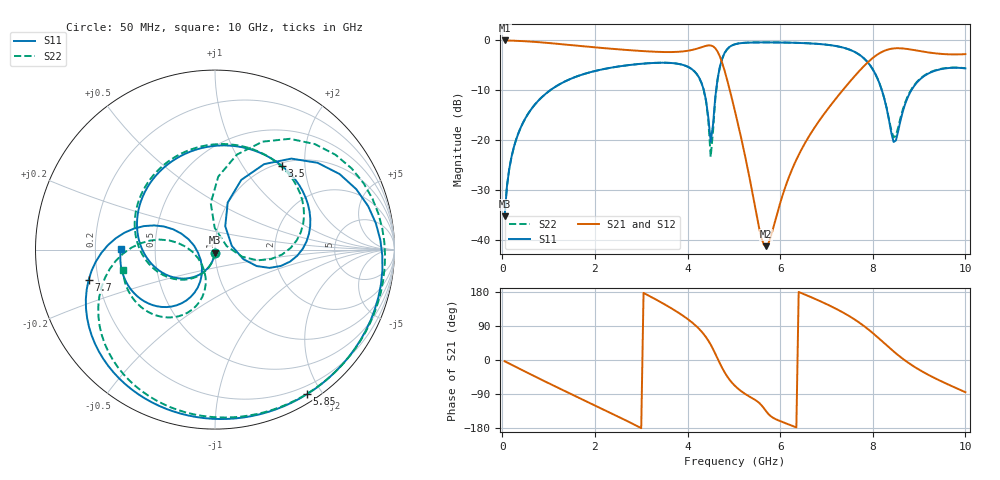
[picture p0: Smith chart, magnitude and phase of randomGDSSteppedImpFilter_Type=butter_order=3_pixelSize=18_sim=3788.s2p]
! freq	dB(S11)	phase(S11)	dB(S12)	phase(S12)
!  dB(S21)	phase(S21)	dB(S22)	phase(S22)
!S-par simulation data
#  GHz  S  DB  R 50
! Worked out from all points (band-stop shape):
!   200 points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, 50 MHz to 10 GHz, reference 50 ohm
!   highest |S21| = 0.00 dB at 50 MHz (marker M1); lowest = -41.3 dB at 5.7 GHz (marker M2)
!   |S21| within 3 dB of the highest: start of sweep to 4.687 GHz; 8.074 GHz to end of sweep
!   lowest |S11| = -35.3 dB at 50 MHz (marker M3), VSWR 1.03, Z = 49.9 - j1.71 ohm
!   |S11| at or under -10 dB: start of sweep to 1.036 GHz; 4.353 GHz to 4.618 GHz (265.3 MHz wide, 5.92 % of centre); 8.196 GHz to 8.834 GHz (638 MHz wide, 7.49 % of centre)
!   |S22| runs from -35.3 to -0.4 dB; largest |S21 - S12| = 0
!   S11 on the Smith chart (normalised r, x): 50 MHz: 1.00, -0.03; 3.5 GHz: 1.05, +1.52; 5.85 GHz: 0.10, -1.81; 7.7 GHz: 0.16, -0.12; 10 GHz: 0.31, +0.00
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0.05  -35.33 -93.3  -0.00 -3.2  -0.00 -3.2  -35.33 -93.1
0.2  -23.34 -103.0  -0.04 -12.5  -0.04 -12.5  -23.34 -102.5
0.5  -15.61 -122.2  -0.16 -31.0  -0.16 -31.0  -15.61 -120.9
1.1  -9.58 -159.3  -0.60 -67.2  -0.60 -67.2  -9.58 -156.3
1.75  -6.78 161.6  -1.17 -105.2  -1.17 -105.2  -6.78 166.6
2.6  -5.11 110.2  -1.85 -155.2  -1.85 -155.2  -5.11 118.2
3.4  -4.48 58.5  -2.31 154.1  -2.31 154.1  -4.48 69.1
3.5  -4.48 51.6  -2.33 147.2  -2.33 147.2  -4.47 62.5
4.25  -7.47 -9.1  -1.52 82.1  -1.52 82.1  -7.50 1.3
4.4  -12.05 -21.6  -1.08 60.0  -1.08 60.0  -12.25 -14.2
4.5  -20.39 12.7  -1.00 40.5  -1.00 40.5  -23.40 17.1
4.7  -5.21 60.1  -3.26 -9.2  -3.26 -9.2  -5.30 77.0
5.05  -0.70 3.3  -15.21 -71.2  -15.21 -71.2  -0.71 17.9
5.7  -0.39 -48.5  -41.31 -135.7  -41.31 -135.7  -0.39 -35.1
5.85  -0.40 -57.6  -37.68 -152.7  -37.68 -152.7  -0.39 -44.4
6.7  -0.62 -104.4  -18.11 164.1  -18.11 164.1  -0.61 -91.9
7.7  -2.80 -166.5  -6.22 99.4  -6.22 99.4  -2.80 -153.9
8.05  -6.63 165.4  -3.16 65.9  -3.16 65.9  -6.63 178.7
8.35  -15.98 158.6  -1.77 33.3  -1.77 33.3  -15.75 174.6
8.5  -20.08 -143.4  -1.57 17.6  -1.57 17.6  -19.11 -131.4
9.05  -7.58 -130.0  -2.19 -29.0  -2.19 -29.0  -7.47 -118.6
10  -5.61 179.6  -2.75 -85.0  -2.75 -85.0  -5.59 -167.5
